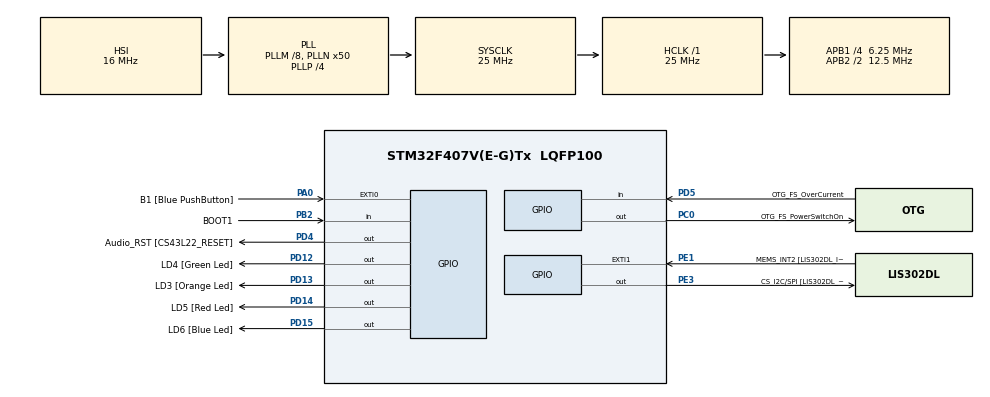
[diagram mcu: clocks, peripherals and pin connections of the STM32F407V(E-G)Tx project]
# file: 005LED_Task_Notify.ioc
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Mcu.Family=STM32F4
Mcu.Name=STM32F407V(E-G)Tx
Mcu.Package=LQFP100
NVIC.PriorityGroup=NVIC_PRIORITYGROUP_4
NVIC.TIM6_DAC_IRQn=true\:15\:0\:false\:false\:true\:false\:true\:true
NVIC.TimeBase=TIM6_DAC_IRQn
NVIC.TimeBaseIP=TIM6
PA0-WKUP.GPIO_Label=B1 [Blue PushButton]
PA0-WKUP.Signal=GPXTI0
PA10.GPIO_Label=OTG_FS_ID
PA10.GPIO_Mode=GPIO_MODE_AF_PP
PA10.GPIO_PuPd=GPIO_NOPULL
PA10.GPIO_Speed=GPIO_SPEED_FREQ_LOW
PA10.Signal=USB_OTG_FS_ID
PA11.GPIO_Label=OTG_FS_DM
PA11.GPIO_Mode=GPIO_MODE_AF_PP
PA11.GPIO_PuPd=GPIO_NOPULL
PA11.GPIO_Speed=GPIO_SPEED_FREQ_LOW
PA11.Signal=USB_OTG_FS_DM
PA12.GPIO_Label=OTG_FS_DP
PA12.GPIO_Mode=GPIO_MODE_AF_PP
PA12.GPIO_PuPd=GPIO_NOPULL
PA12.GPIO_Speed=GPIO_SPEED_FREQ_LOW
PA12.Signal=USB_OTG_FS_DP
PA13.GPIO_Label=SWDIO
PA13.Signal=SYS_JTMS-SWDIO
PA14.GPIO_Label=SWCLK
PA14.Signal=SYS_JTCK-SWCLK
PA4.GPIO_Label=I2S3_WS [CS43L22_LRCK]
PA4.GPIO_Mode=GPIO_MODE_AF_PP
PA4.GPIO_PuPd=GPIO_NOPULL
PA4.GPIO_Speed=GPIO_SPEED_FREQ_LOW
PA4.Signal=I2S3_WS
PA5.GPIO_Label=SPI1_SCK [LIS302DL_SCL/SPC]
PA5.GPIO_Mode=GPIO_MODE_AF_PP
PA5.GPIO_PuPd=GPIO_NOPULL
PA5.GPIO_Speed=GPIO_SPEED_FREQ_LOW
PA5.Signal=SPI1_SCK
PA6.GPIO_Label=SPI1_MISO [LIS302DL_SDO]
PA6.GPIO_Mode=GPIO_MODE_AF_PP
PA6.GPIO_PuPd=GPIO_NOPULL
PA6.GPIO_Speed=GPIO_SPEED_FREQ_LOW
PA6.Signal=SPI1_MISO
PA7.GPIO_Label=SPI1_MOSI [LIS302DL_SDA/SDI/SDO]
PA7.GPIO_Mode=GPIO_MODE_AF_PP
PA7.GPIO_PuPd=GPIO_NOPULL
PA7.GPIO_Speed=GPIO_SPEED_FREQ_LOW
PA7.Signal=SPI1_MOSI
PA9.GPIO_Label=VBUS_FS
PA9.GPIO_Mode=GPIO_MODE_INPUT
PA9.GPIO_PuPd=GPIO_NOPULL
PA9.Signal=USB_OTG_FS_VBUS
PB10.GPIO_Label=CLK_IN [MP45DT02_CLK]
PB10.GPIO_Mode=GPIO_MODE_AF_PP
PB10.GPIO_PuPd=GPIO_NOPULL
PB10.GPIO_Speed=GPIO_SPEED_FREQ_LOW
PB10.Signal=I2S2_CK
PB2.GPIO_Label=BOOT1
PB2.GPIO_Mode=GPIO_MODE_INPUT
PB2.GPIO_PuPd=GPIO_NOPULL
PB2.Signal=GPIO_Input
PB3.GPIO_Label=SWO
PB3.Signal=SYS_JTDO-SWO
PB6.GPIO_Label=Audio_SCL [CS43L22_SCL]
PB6.GPIO_Mode=GPIO_MODE_AF_OD
PB6.GPIO_PuPd=GPIO_NOPULL
PB6.GPIO_Speed=GPIO_SPEED_FREQ_LOW
PB6.Signal=I2C1_SCL
PB9.GPIO_Label=Audio_SDA [CS43L22_SDA]
PB9.GPIO_Mode=GPIO_MODE_AF_OD
PB9.GPIO_PuPd=GPIO_NOPULL
PB9.GPIO_Speed=GPIO_SPEED_FREQ_LOW
PB9.Signal=I2C1_SDA
PC0.GPIO_Label=OTG_FS_PowerSwitchOn
PC0.GPIO_PuPd=GPIO_NOPULL
PC0.GPIO_Speed=GPIO_SPEED_FREQ_LOW
PC0.PinState=GPIO_PIN_SET
PC0.Signal=GPIO_Output
PC10.GPIO_Label=I2S3_SCK [CS43L22_SCLK]
PC10.GPIO_Mode=GPIO_MODE_AF_PP
PC10.GPIO_PuPd=GPIO_NOPULL
PC10.GPIO_Speed=GPIO_SPEED_FREQ_LOW
PC10.Signal=I2S3_CK
PC12.GPIO_Label=I2S3_SD [CS43L22_SDIN]
PC12.GPIO_Mode=GPIO_MODE_AF_PP
PC12.GPIO_PuPd=GPIO_NOPULL
PC12.GPIO_Speed=GPIO_SPEED_FREQ_LOW
PC12.Signal=I2S3_SD
PC14-OSC32_IN.GPIO_Label=PC14-OSC32_IN
PC14-OSC32_IN.Signal=RCC_OSC32_IN
PC15-OSC32_OUT.GPIO_Label=PC15-OSC32_OUT
PC15-OSC32_OUT.Signal=RCC_OSC32_OUT
PC3.GPIO_Label=PDM_OUT [MP45DT02_DOUT]
PC3.GPIO_Mode=GPIO_MODE_AF_PP
PC3.GPIO_PuPd=GPIO_NOPULL
PC3.GPIO_Speed=GPIO_SPEED_FREQ_LOW
PC3.Signal=I2S2_SD
PC7.GPIO_Label=I2S3_MCK [CS43L22_MCLK]
PC7.GPIO_Mode=GPIO_MODE_AF_PP
PC7.GPIO_PuPd=GPIO_NOPULL
PC7.GPIO_Speed=GPIO_SPEED_FREQ_LOW
PC7.Signal=I2S3_MCK
PD12.GPIO_Label=LD4 [Green Led]
PD12.GPIO_PuPd=GPIO_NOPULL
PD12.GPIO_Speed=GPIO_SPEED_FREQ_LOW
PD12.Signal=GPIO_Output
PD13.GPIO_Label=LD3 [Orange Led]
PD13.GPIO_PuPd=GPIO_NOPULL
PD13.GPIO_Speed=GPIO_SPEED_FREQ_LOW
PD13.Signal=GPIO_Output
PD14.GPIO_Label=LD5 [Red Led]
PD14.GPIO_PuPd=GPIO_NOPULL
PD14.GPIO_Speed=GPIO_SPEED_FREQ_LOW
PD14.Signal=GPIO_Output
PD15.GPIO_Label=LD6 [Blue Led]
PD15.GPIO_PuPd=GPIO_NOPULL
PD15.GPIO_Speed=GPIO_SPEED_FREQ_LOW
PD15.Signal=GPIO_Output
PD4.GPIO_Label=Audio_RST [CS43L22_RESET]
PD4.GPIO_PuPd=GPIO_NOPULL
PD4.GPIO_Speed=GPIO_SPEED_FREQ_LOW
PD4.Signal=GPIO_Output
PD5.GPIO_Label=OTG_FS_OverCurrent
PD5.GPIO_Mode=GPIO_MODE_INPUT
PD5.GPIO_PuPd=GPIO_NOPULL
PD5.Signal=GPIO_Input
PE1.GPIO_Label=MEMS_INT2 [LIS302DL_INT2]
PE1.GPIO_ModeDefaultEXTI=GPIO_MODE_EVT_RISING
PE1.GPIO_PuPd=GPIO_NOPULL
PE1.Signal=GPXTI1
PE3.GPIO_Label=CS_I2C/SPI [LIS302DL_CS_I2C/SPI]
PE3.GPIO_PuPd=GPIO_NOPULL
PE3.GPIO_Speed=GPIO_SPEED_FREQ_LOW
PE3.Signal=GPIO_Output
PH0-OSC_IN.GPIO_Label=PH0-OSC_IN
PH0-OSC_IN.Signal=RCC_OSC_IN
PH1-OSC_OUT.GPIO_Label=PH1-OSC_OUT
PH1-OSC_OUT.Signal=RCC_OSC_OUT
ProjectManager.HeapSize=0x200
ProjectManager.StackSize=0x400
ProjectManager.TargetToolchain=STM32CubeIDE
RCC.48MHZClocksFreq_Value=14285714.285714285
RCC.AHBFreq_Value=25000000
RCC.APB1CLKDivider=RCC_HCLK_DIV4
RCC.APB1Freq_Value=6250000
RCC.APB1TimFreq_Value=12500000
RCC.APB2CLKDivider=RCC_HCLK_DIV2
RCC.APB2Freq_Value=12500000
RCC.APB2TimFreq_Value=25000000
RCC.CortexFreq_Value=25000000
RCC.HCLKFreq_Value=25000000
RCC.HSE_VALUE=8000000
RCC.HSI_VALUE=16000000
RCC.LSE_VALUE=32768
RCC.PLLM=8
RCC.PLLN=50
RCC.PLLP=RCC_PLLP_DIV4
RCC.PLLQ=7
RCC.SYSCLKFreq_VALUE=25000000
RCC.SYSCLKSource=RCC_SYSCLKSOURCE_PLLCLK
RCC.VCOOutputFreq_Value=100000000
VP_SYS_VS_tim6.Mode=TIM6
board=STM32F407G-DISC1

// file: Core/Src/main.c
/* USER CODE BEGIN Header */
/**
  ******************************************************************************
  * @file           : main.c
  * @brief          : Main program body
  ******************************************************************************
  * @attention
  *
  * Copyright (c) 2025 STMicroelectronics.
  * All rights reserved.
  *
  * This software is licensed under terms that can be found in the LICENSE file
  * in the root directory of this software component.
  * If no LICENSE file comes with this software, it is provided AS-IS.
  *
  ******************************************************************************
  */
/* USER CODE END Header */
#include "main.h"

/* USER CODE BEGIN Includes */

#include <stdio.h>
#include "FreeRTOS.h"
#include "task.h"

/* USER CODE END Includes */

/* USER CODE BEGIN PV */

#define DWT_CTRL    (*(volatile uint32_t*)0xE0001000)
uint8_t ucHeap[ configTOTAL_HEAP_SIZE ];

/* USER CODE END PV */

void SystemClock_Config(void);
static void MX_GPIO_Init(void);

/* USER CODE BEGIN 0 */

static void led_green_handler(void* parameters);
static void led_orange_handler(void* parameters);
static void led_red_handler(void* parameters);
static void button_handler(void* parameters);

TaskHandle_t ledg_handle;
TaskHandle_t ledo_handle;
TaskHandle_t ledr_handle;
TaskHandle_t btn_task_handle;
TaskHandle_t volatile next_task_handle = NULL;

/* USER CODE END 0 */

int main(void)
{

  /* USER CODE BEGIN 1 */

	BaseType_t status;

  /* USER CODE END 1 */

  /* MCU Configuration--------------------------------------------------------*/

  /* Reset of all peripherals, Initializes the Flash interface and the Systick. */
  HAL_Init();

  /* Configure the system clock */
  SystemClock_Config();

  /* Initialize all configured peripherals */
  MX_GPIO_Init();
  /* USER CODE BEGIN 2 */

  //Enable the CYCCNT counter.
  DWT_CTRL |= ( 1 << 0);

  //SEGGER_UART_init(500000);

  SEGGER_SYSVIEW_Conf();

  SEGGER_SYSVIEW_Start();

  //  Priority : Button > green > orange > red (越大越優先)

  status = xTaskCreate(led_green_handler, "LED green Task", 200, NULL, 3, &ledg_handle); // LD4

  configASSERT(status == pdPASS);
  next_task_handle = ledg_handle;

  status = xTaskCreate(led_red_handler, "LED red Task", 200, NULL, 1, &ledr_handle); // LD5

  configASSERT(status == pdPASS);

  status = xTaskCreate(led_orange_handler, "LED orange Task", 200, NULL, 2, &ledo_handle); // LD3

  configASSERT(status == pdPASS);

  status = xTaskCreate(button_handler, "Button Task", 200, NULL, 4, &btn_task_handle);

  configASSERT(status == pdPASS);

  //start the freeRTOS scheduler
  vTaskStartScheduler();

  /* USER CODE END 2 */

  /* Infinite loop */
  while (1)
  {

  }
}

void SystemClock_Config(void)
{
  RCC_OscInitTypeDef RCC_OscInitStruct = {0};
  RCC_ClkInitTypeDef RCC_ClkInitStruct = {0};

  /** Configure the main internal regulator output voltage
  */
  __HAL_RCC_PWR_CLK_ENABLE();
  __HAL_PWR_VOLTAGESCALING_CONFIG(PWR_REGULATOR_VOLTAGE_SCALE1);

  /** Initializes the RCC Oscillators according to the specified parameters
  * in the RCC_OscInitTypeDef structure.
  */
  RCC_OscInitStruct.OscillatorType = RCC_OSCILLATORTYPE_HSI;
  RCC_OscInitStruct.HSIState = RCC_HSI_ON;
  RCC_OscInitStruct.HSICalibrationValue = RCC_HSICALIBRATION_DEFAULT;
  RCC_OscInitStruct.PLL.PLLState = RCC_PLL_ON;
  RCC_OscInitStruct.PLL.PLLSource = RCC_PLLSOURCE_HSI;
  RCC_OscInitStruct.PLL.PLLM = 8;
  RCC_OscInitStruct.PLL.PLLN = 50;
  RCC_OscInitStruct.PLL.PLLP = RCC_PLLP_DIV4;
  RCC_OscInitStruct.PLL.PLLQ = 7;
  if (HAL_RCC_OscConfig(&RCC_OscInitStruct) != HAL_OK)
  {
    Error_Handler();
  }

  /** Initializes the CPU, AHB and APB buses clocks
  */
  RCC_ClkInitStruct.ClockType = RCC_CLOCKTYPE_HCLK|RCC_CLOCKTYPE_SYSCLK
                              |RCC_CLOCKTYPE_PCLK1|RCC_CLOCKTYPE_PCLK2;
  RCC_ClkInitStruct.SYSCLKSource = RCC_SYSCLKSOURCE_PLLCLK;
  RCC_ClkInitStruct.AHBCLKDivider = RCC_SYSCLK_DIV1;
  RCC_ClkInitStruct.APB1CLKDivider = RCC_HCLK_DIV4;
  RCC_ClkInitStruct.APB2CLKDivider = RCC_HCLK_DIV2;

  if (HAL_RCC_ClockConfig(&RCC_ClkInitStruct, FLASH_LATENCY_0) != HAL_OK)
  {
    Error_Handler();
  }
}

static void MX_GPIO_Init(void)
{
  GPIO_InitTypeDef GPIO_InitStruct = {0};

  /* GPIO Ports Clock Enable */
  __HAL_RCC_GPIOE_CLK_ENABLE();
  __HAL_RCC_GPIOC_CLK_ENABLE();
  __HAL_RCC_GPIOH_CLK_ENABLE();
  __HAL_RCC_GPIOA_CLK_ENABLE();
  __HAL_RCC_GPIOB_CLK_ENABLE();
  __HAL_RCC_GPIOD_CLK_ENABLE();

  /*Configure GPIO pin Output Level */
  HAL_GPIO_WritePin(CS_I2C_SPI_GPIO_Port, CS_I2C_SPI_Pin, GPIO_PIN_RESET);

  /*Configure GPIO pin Output Level */
  HAL_GPIO_WritePin(OTG_FS_PowerSwitchOn_GPIO_Port, OTG_FS_PowerSwitchOn_Pin, GPIO_PIN_SET);

  /*Configure GPIO pin Output Level */
  HAL_GPIO_WritePin(GPIOD, LD4_Pin|LD3_Pin|LD5_Pin|LD6_Pin
                          |Audio_RST_Pin, GPIO_PIN_RESET);

  /*Configure GPIO pin : CS_I2C_SPI_Pin */
  GPIO_InitStruct.Pin = CS_I2C_SPI_Pin;
  GPIO_InitStruct.Mode = GPIO_MODE_OUTPUT_PP;
  GPIO_InitStruct.Pull = GPIO_NOPULL;
  GPIO_InitStruct.Speed = GPIO_SPEED_FREQ_LOW;
  HAL_GPIO_Init(CS_I2C_SPI_GPIO_Port, &GPIO_InitStruct);

  /*Configure GPIO pin : OTG_FS_PowerSwitchOn_Pin */
  GPIO_InitStruct.Pin = OTG_FS_PowerSwitchOn_Pin;
  GPIO_InitStruct.Mode = GPIO_MODE_OUTPUT_PP;
  GPIO_InitStruct.Pull = GPIO_NOPULL;
  GPIO_InitStruct.Speed = GPIO_SPEED_FREQ_LOW;
  HAL_GPIO_Init(OTG_FS_PowerSwitchOn_GPIO_Port, &GPIO_InitStruct);

  /*Configure GPIO pin : PDM_OUT_Pin */
  GPIO_InitStruct.Pin = PDM_OUT_Pin;
  GPIO_InitStruct.Mode = GPIO_MODE_AF_PP;
  GPIO_InitStruct.Pull = GPIO_NOPULL;
  GPIO_InitStruct.Speed = GPIO_SPEED_FREQ_LOW;
  GPIO_InitStruct.Alternate = GPIO_AF5_SPI2;
  HAL_GPIO_Init(PDM_OUT_GPIO_Port, &GPIO_InitStruct);

  /*Configure GPIO pin : B1_Pin */
  GPIO_InitStruct.Pin = B1_Pin;
  GPIO_InitStruct.Mode = GPIO_MODE_IT_RISING;
  GPIO_InitStruct.Pull = GPIO_NOPULL;
  HAL_GPIO_Init(B1_GPIO_Port, &GPIO_InitStruct);

  /*Configure GPIO pin : I2S3_WS_Pin */
  GPIO_InitStruct.Pin = I2S3_WS_Pin;
  GPIO_InitStruct.Mode = GPIO_MODE_AF_PP;
  GPIO_InitStruct.Pull = GPIO_NOPULL;
  GPIO_InitStruct.Speed = GPIO_SPEED_FREQ_LOW;
  GPIO_InitStruct.Alternate = GPIO_AF6_SPI3;
  HAL_GPIO_Init(I2S3_WS_GPIO_Port, &GPIO_InitStruct);

  /*Configure GPIO pins : SPI1_SCK_Pin SPI1_MISO_Pin SPI1_MOSI_Pin */
  GPIO_InitStruct.Pin = SPI1_SCK_Pin|SPI1_MISO_Pin|SPI1_MOSI_Pin;
  GPIO_InitStruct.Mode = GPIO_MODE_AF_PP;
  GPIO_InitStruct.Pull = GPIO_NOPULL;
  GPIO_InitStruct.Speed = GPIO_SPEED_FREQ_LOW;
  GPIO_InitStruct.Alternate = GPIO_AF5_SPI1;
  HAL_GPIO_Init(GPIOA, &GPIO_InitStruct);

  /*Configure GPIO pin : BOOT1_Pin */
  GPIO_InitStruct.Pin = BOOT1_Pin;
  GPIO_InitStruct.Mode = GPIO_MODE_INPUT;
  GPIO_InitStruct.Pull = GPIO_NOPULL;
  HAL_GPIO_Init(BOOT1_GPIO_Port, &GPIO_InitStruct);

  /*Configure GPIO pin : CLK_IN_Pin */
  GPIO_InitStruct.Pin = CLK_IN_Pin;
  GPIO_InitStruct.Mode = GPIO_MODE_AF_PP;
  GPIO_InitStruct.Pull = GPIO_NOPULL;
  GPIO_InitStruct.Speed = GPIO_SPEED_FREQ_LOW;
  GPIO_InitStruct.Alternate = GPIO_AF5_SPI2;
  HAL_GPIO_Init(CLK_IN_GPIO_Port, &GPIO_InitStruct);

  /*Configure GPIO pins : LD4_Pin LD3_Pin LD5_Pin LD6_Pin
                           Audio_RST_Pin */
  GPIO_InitStruct.Pin = LD4_Pin|LD3_Pin|LD5_Pin|LD6_Pin
                          |Audio_RST_Pin;
  GPIO_InitStruct.Mode = GPIO_MODE_OUTPUT_PP;
  GPIO_InitStruct.Pull = GPIO_NOPULL;
  GPIO_InitStruct.Speed = GPIO_SPEED_FREQ_LOW;
  HAL_GPIO_Init(GPIOD, &GPIO_InitStruct);

  /*Configure GPIO pins : I2S3_MCK_Pin I2S3_SCK_Pin I2S3_SD_Pin */
  GPIO_InitStruct.Pin = I2S3_MCK_Pin|I2S3_SCK_Pin|I2S3_SD_Pin;
  GPIO_InitStruct.Mode = GPIO_MODE_AF_PP;
  GPIO_InitStruct.Pull = GPIO_NOPULL;
  GPIO_InitStruct.Speed = GPIO_SPEED_FREQ_LOW;
  GPIO_InitStruct.Alternate = GPIO_AF6_SPI3;
  HAL_GPIO_Init(GPIOC, &GPIO_InitStruct);

  /*Configure GPIO pin : VBUS_FS_Pin */
  GPIO_InitStruct.Pin = VBUS_FS_Pin;
  GPIO_InitStruct.Mode = GPIO_MODE_INPUT;
  GPIO_InitStruct.Pull = GPIO_NOPULL;
  HAL_GPIO_Init(VBUS_FS_GPIO_Port, &GPIO_InitStruct);

  /*Configure GPIO pins : OTG_FS_ID_Pin OTG_FS_DM_Pin OTG_FS_DP_Pin */
  GPIO_InitStruct.Pin = OTG_FS_ID_Pin|OTG_FS_DM_Pin|OTG_FS_DP_Pin;
  GPIO_InitStruct.Mode = GPIO_MODE_AF_PP;
  GPIO_InitStruct.Pull = GPIO_NOPULL;
  GPIO_InitStruct.Speed = GPIO_SPEED_FREQ_LOW;
  GPIO_InitStruct.Alternate = GPIO_AF10_OTG_FS;
  HAL_GPIO_Init(GPIOA, &GPIO_InitStruct);

  /*Configure GPIO pin : OTG_FS_OverCurrent_Pin */
  GPIO_InitStruct.Pin = OTG_FS_OverCurrent_Pin;
  GPIO_InitStruct.Mode = GPIO_MODE_INPUT;
  GPIO_InitStruct.Pull = GPIO_NOPULL;
  HAL_GPIO_Init(OTG_FS_OverCurrent_GPIO_Port, &GPIO_InitStruct);

  /*Configure GPIO pins : Audio_SCL_Pin Audio_SDA_Pin */
  GPIO_InitStruct.Pin = Audio_SCL_Pin|Audio_SDA_Pin;
  GPIO_InitStruct.Mode = GPIO_MODE_AF_OD;
  GPIO_InitStruct.Pull = GPIO_NOPULL;
  GPIO_InitStruct.Speed = GPIO_SPEED_FREQ_LOW;
  GPIO_InitStruct.Alternate = GPIO_AF4_I2C1;
  HAL_GPIO_Init(GPIOB, &GPIO_InitStruct);

  /*Configure GPIO pin : MEMS_INT2_Pin */
  GPIO_InitStruct.Pin = MEMS_INT2_Pin;
  GPIO_InitStruct.Mode = GPIO_MODE_EVT_RISING;
  GPIO_InitStruct.Pull = GPIO_NOPULL;
  HAL_GPIO_Init(MEMS_INT2_GPIO_Port, &GPIO_InitStruct);

}

/* USER CODE BEGIN 4 */

static void led_green_handler(void* parameters){
	BaseType_t status;

	while(1){
		HAL_GPIO_TogglePin(GPIOD, LED_GREEN_PIN);
		//HAL_Delay(1000);
		//vTaskDelay(pdMS_TO_TICKS(1000));

		status = xTaskNotifyWait(0, 0, NULL, pdMS_TO_TICKS(1000));  // 有其他task打擾，即切斷，回傳pdTRUE
		if(status==pdTRUE){

			// prevent scheduler from doing context switch, give the resource to other tasks -> like "Critical Section"
			// 暫停任務切換（Scheduler），但不中斷中斷（ISR）
			vTaskSuspendAll();
			next_task_handle = ledo_handle;
			xTaskResumeAll();

			HAL_GPIO_WritePin(GPIOD, LED_GREEN_PIN, GPIO_PIN_SET);
			vTaskDelete(NULL);
		}
	}
}

static void led_orange_handler(void* parameters){
	BaseType_t status;

	while(1){
		HAL_GPIO_TogglePin(GPIOD, LED_ORANGE_PIN);
		//HAL_Delay(800);
		//vTaskDelay(pdMS_TO_TICKS(800));

		status = xTaskNotifyWait(0, 0, NULL, pdMS_TO_TICKS(800));
		if(status==pdTRUE){

			vTaskSuspendAll();
			next_task_handle = ledr_handle;
			xTaskResumeAll();

			HAL_GPIO_WritePin(GPIOD, LED_ORANGE_PIN, GPIO_PIN_SET);
			vTaskDelete(NULL);
		}
	}
}

static void led_red_handler(void* parameters){
	BaseType_t status;

	while(1){
		HAL_GPIO_TogglePin(GPIOD, LED_RED_PIN);
		//HAL_Delay(400);
		//vTaskDelay(pdMS_TO_TICKS(400));

		status = xTaskNotifyWait(0, 0, NULL, pdMS_TO_TICKS(400));
		if(status==pdTRUE){

			vTaskSuspendAll();
			next_task_handle = NULL;
			xTaskResumeAll();

			HAL_GPIO_WritePin(GPIOD, LED_RED_PIN, GPIO_PIN_SET);
			vTaskDelete(btn_task_handle);
			vTaskDelete(NULL);

		}
	}
}

static void button_handler(void* parameters){
	uint8_t btn_read = 0;
	uint8_t prev_read = 0;
	while(1){
		btn_read = HAL_GPIO_ReadPin(GPIOA, GPIO_PIN_0);

		if(btn_read){
			if(!prev_read){
				xTaskNotify(next_task_handle, 0, eNoAction);
			}
		}
		prev_read = btn_read;
		vTaskDelay(pdMS_TO_TICKS(10));
	}
}

/* USER CODE END 4 */

void HAL_TIM_PeriodElapsedCallback(TIM_HandleTypeDef *htim)
{
  if (htim->Instance == TIM6)
  {
    HAL_IncTick();
  }
}

void Error_Handler(void)
{
  __disable_irq();
  while (1)
  {
  }
}
